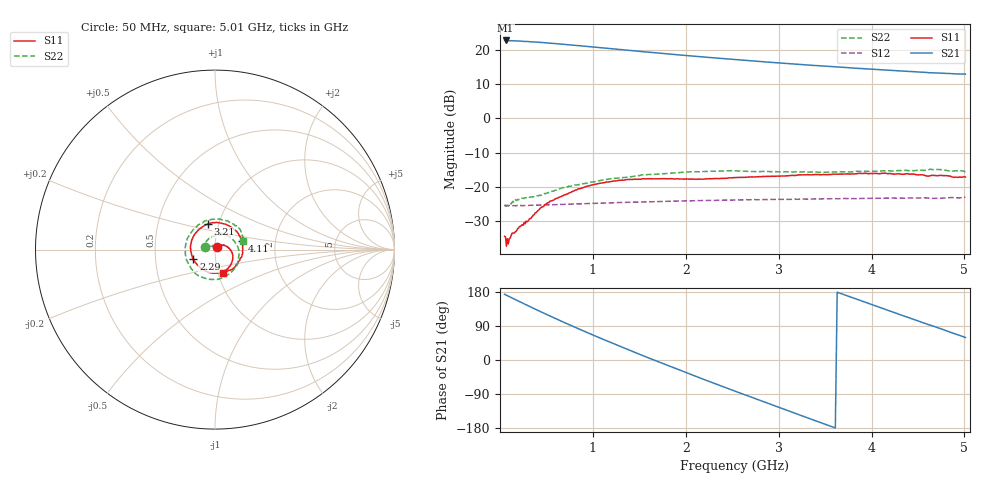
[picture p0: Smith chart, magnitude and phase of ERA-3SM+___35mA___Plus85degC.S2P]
! Mini-Circuits
! S2P DATA File Format
! Type: MMIC Amplifier
! Model: ERA-3SM  Reference Data: RDF-1128B
! Note: All S Parameters are in dB deg format
! TEST CONDITIONS: INPUT POWER = -25dBm, Icc = 35mA, Vd = 3.12V @Temperature = +85degC
! 401 Frequency points
# MHz S DB R 50
!  FREQ  dB(S11)  PHS(S11)  dB(S21)  PHS(S21)  dB(S12)  PHS(S12)  dB(S22)  PHS(S22)
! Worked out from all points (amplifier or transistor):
!   401 points, 50 MHz to 5.01 GHz, reference 50 ohm
!   highest |S21| = 22.8 dB at 60 MHz (marker M1)
!   |S21| within 3 dB of that: start of sweep to 1.433 GHz
!   unconditionally stable (mu >= 1): start of sweep to end of sweep
!   at 710 MHz: K = 1.06, MAG = 21.8 dB, |S12| = -25.1 dB
!   at 2.05 GHz: K = 1.18, MAG = 18.6 dB, |S12| = -24.1 dB
!   at 5.01 GHz: K = 1.69, MAG = 13.1 dB, |S12| = -23.0 dB
!   S11 on the Smith chart (normalised r, x): 50 MHz: 1.03, +0.03; 2.29 GHz: 0.78, -0.09; 3.21 GHz: 0.88, +0.26; 4.11 GHz: 1.35, +0.13; 5.01 GHz: 1.05, -0.28
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50  -34.44 43.3  22.78 173.4  -25.50 -2.3  -25.22 167.1
60  -34.63 31.1  22.79 172.1  -25.35 -4.1  -25.69 164.6
230  -31.25 59.2  22.59 151.8  -25.44 -12.9  -23.35 132.5
360  -28.25 39.8  22.35 136.5  -25.37 -19.7  -22.87 107.8
470  -25.72 28.2  22.17 123.8  -25.31 -26.2  -22.00 90.9
670  -22.64 10.3  21.69 101.4  -25.14 -37.7  -20.26 62.2
880  -20.33 -10.0  21.19 78.7  -24.92 -50.2  -19.15 36.4
1090  -18.87 -30.9  20.64 56.7  -24.73 -63.1  -18.07 11.1
1290  -18.04 -48.9  20.15 36.3  -24.60 -75.3  -17.36 -9.6
1490  -17.78 -69.0  19.64 16.3  -24.44 -88.1  -16.73 -30.3
1710  -17.61 -91.0  19.09 -5.2  -24.30 -102.0  -16.22 -51.9
2010  -17.68 -124.7  18.38 -33.8  -24.10 -121.5  -15.65 -81.1
2290  -17.58 -156.0  17.74 -60.2  -23.91 -139.7  -15.45 -107.9
2530  -17.30 176.4  17.19 -82.2  -23.83 -155.0  -15.29 -130.8
2840  -16.95 143.1  16.55 -110.5  -23.70 -175.6  -15.47 -159.8
3210  -16.51 106.2  15.80 -143.8  -23.63 159.8  -15.58 165.8
3370  -16.44 89.2  15.51 -157.9  -23.54 149.4  -15.67 150.4
3710  -16.26 55.1  14.90 171.9  -23.36 126.9  -15.59 119.9
4110  -16.04 17.0  14.22 137.0  -23.36 100.9  -15.35 85.7
4190  -16.11 8.8  14.10 129.9  -23.29 95.4  -15.28 79.2
4570  -16.62 -25.9  13.48 97.0  -23.18 69.8  -15.20 50.9
5010  -17.13 -72.5  12.96 59.3  -23.00 41.8  -15.62 17.8
